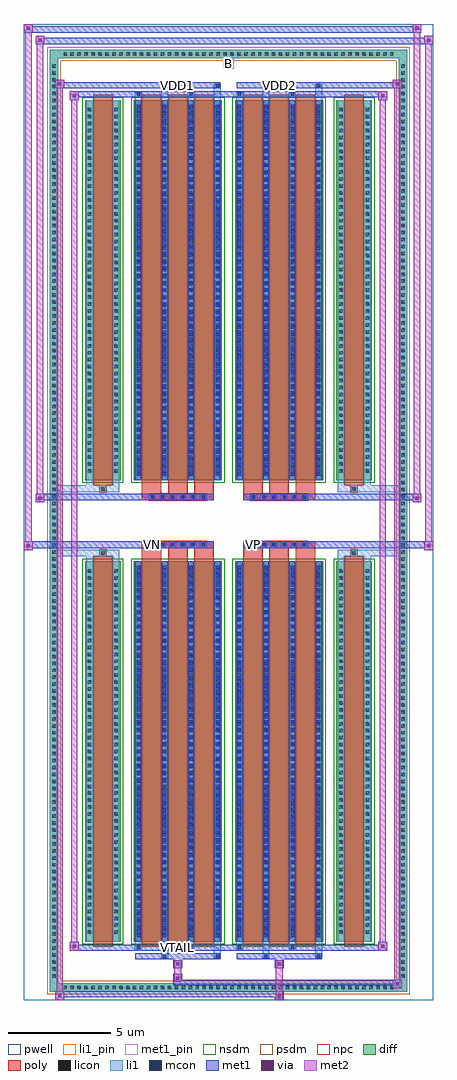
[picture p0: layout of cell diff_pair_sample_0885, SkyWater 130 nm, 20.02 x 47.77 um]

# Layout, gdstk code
import gdstk
lib = gdstk.Library(unit=1e-6, precision=5e-09)
def R(c, l, rs):  # rectangles x0, y0, x1, y1
    for r in rs: c.add(gdstk.rectangle(r[:2], r[2:], *l))
def A(c, l, x, y, w, h, nx, ny, dx, dy):  # array of equal rectangles
    R(c, l, [(x+i*dx, y+j*dy, x+i*dx+w, y+j*dy+h) for i in range(nx) for j in range(ny)])
def P(c, l, *ps):  # polygons
    for p in ps: c.add(gdstk.Polygon(p, *l))
pwell = (64, 44)
diff = (65, 20)
poly = (66, 20)
licon = (66, 44)
li1_pin = (67, 16)
li1 = (67, 20)
mcon = (67, 44)
met1_pin = (68, 16)
met1 = (68, 20)
via = (68, 44)
met2 = (69, 20)
nsdm = (93, 44)
psdm = (94, 20)
npc = (95, 20)

diff_pair_sample_0885 = lib.new_cell('diff_pair_sample_0885')
R(diff_pair_sample_0885, pwell, [(-10.01,-23.45,10.01,24.32), (-7.33,-21.64,-0.01,-0.8), (0.01,-21.64,7.33,-0.8), (-7.33,0.8,-0.01,21.64), (0.01,0.8,7.33,21.64)])
A(diff_pair_sample_0885, diff, -8.195, -23.05, 0.41, 0.41, 48, 2, 0.34, 45.69)
A(diff_pair_sample_0885, diff, -8.74, -22.475, 0.41, 0.41, 1, 132, 0, 0.34)
A(diff_pair_sample_0885, diff, 8.33, -22.475, 0.41, 0.41, 1, 132, 0, 0.34)
R(diff_pair_sample_0885, diff, [(-8.195,-23.05,8.195,-22.64), (-8.74,-22.475,-8.33,22.475), (8.33,-22.475,8.74,22.475), (-7.02,-20.595,-5.28,-1.985), (-4.64,-20.595,-0.32,-1.985), (0.32,-20.595,4.64,-1.985), (5.28,-20.595,7.02,-1.985), (-7.02,1.985,-5.28,20.595), (-4.64,1.985,-0.32,20.595), (0.32,1.985,4.64,20.595), (5.28,1.985,7.02,20.595), (-8.195,22.64,8.195,23.05)])
P(diff_pair_sample_0885, diff, [(8.74,23.05),(-8.74,23.05),(-8.74,-22.64),(-8.33,-22.64),(-8.33,22.64),(8.33,22.64),(8.33,-22.64),(-8.33,-22.64),(-8.74,-22.64),(-8.74,-23.05),(8.74,-23.05)])
A(diff_pair_sample_0885, poly, -4.25, -20.845, 0.96, 19.11, 3, 2, 1.29, 22.58)
A(diff_pair_sample_0885, poly, 0.71, -20.845, 0.96, 19.11, 3, 2, 1.29, 22.58)
A(diff_pair_sample_0885, poly, -4.25, -1.735, 0.96, 0.405, 3, 2, 1.29, 3.065)
A(diff_pair_sample_0885, poly, 0.71, -1.735, 0.96, 0.405, 3, 2, 1.29, 3.065)
A(diff_pair_sample_0885, poly, -3.895, -1.33, 0.33, 0.33, 6, 2, 0.5, 2.33)
A(diff_pair_sample_0885, poly, 1.065, -1.33, 0.33, 0.33, 6, 2, 0.5, 2.33)
R(diff_pair_sample_0885, poly, [(-6.63,-20.845,-5.67,-1.735), (5.67,-20.845,6.63,-1.735), (-6.315,-1.735,-5.985,-1.405), (-6.315,-1.735,-5.985,-1.405), (5.985,-1.735,6.315,-1.405), (5.985,-1.735,6.315,-1.405), (-4.25,-1.33,-0.71,-1), (0.71,-1.33,4.25,-1), (-4.25,1,-0.71,1.33), (0.71,1,4.25,1.33), (-6.315,1.405,-5.985,1.735), (-6.315,1.405,-5.985,1.735), (5.985,1.405,6.315,1.735), (5.985,1.405,6.315,1.735), (-6.63,1.735,-5.67,20.845), (5.67,1.735,6.63,20.845)])
A(diff_pair_sample_0885, licon, -8.075, -22.93, 0.17, 0.17, 48, 2, 0.34, 45.69)
A(diff_pair_sample_0885, licon, -8.62, -22.355, 0.17, 0.17, 1, 132, 0, 0.34)
A(diff_pair_sample_0885, licon, 8.45, -22.355, 0.17, 0.17, 1, 132, 0, 0.34)
A(diff_pair_sample_0885, licon, -6.88, -20.215, 0.17, 0.17, 1, 53, 0, 0.34)
A(diff_pair_sample_0885, licon, -5.59, -20.215, 0.17, 0.17, 1, 53, 0, 0.34)
A(diff_pair_sample_0885, licon, -4.5, -20.215, 0.17, 0.17, 4, 53, 1.29, 0.34)
A(diff_pair_sample_0885, licon, 0.46, -20.215, 0.17, 0.17, 4, 53, 1.29, 0.34)
A(diff_pair_sample_0885, licon, 5.42, -20.215, 0.17, 0.17, 1, 53, 0, 0.34)
A(diff_pair_sample_0885, licon, 6.71, -20.215, 0.17, 0.17, 1, 53, 0, 0.34)
A(diff_pair_sample_0885, licon, -3.815, -1.25, 0.17, 0.17, 6, 2, 0.5, 2.33)
A(diff_pair_sample_0885, licon, 1.145, -1.25, 0.17, 0.17, 6, 2, 0.5, 2.33)
A(diff_pair_sample_0885, licon, -6.88, 2.365, 0.17, 0.17, 1, 53, 0, 0.34)
A(diff_pair_sample_0885, licon, -5.59, 2.365, 0.17, 0.17, 1, 53, 0, 0.34)
A(diff_pair_sample_0885, licon, -4.5, 2.365, 0.17, 0.17, 4, 53, 1.29, 0.34)
A(diff_pair_sample_0885, licon, 0.46, 2.365, 0.17, 0.17, 4, 53, 1.29, 0.34)
A(diff_pair_sample_0885, licon, 5.42, 2.365, 0.17, 0.17, 1, 53, 0, 0.34)
A(diff_pair_sample_0885, licon, 6.71, 2.365, 0.17, 0.17, 1, 53, 0, 0.34)
R(diff_pair_sample_0885, licon, [(-6.235,-1.655,-6.065,-1.485), (6.065,-1.655,6.235,-1.485), (-6.235,1.485,-6.065,1.655), (6.065,1.485,6.235,1.655)])
R(diff_pair_sample_0885, li1_pin, [(-0.25,22.14,0.25,22.64)])
A(diff_pair_sample_0885, li1, -8.155, -23.01, 0.33, 0.33, 48, 2, 0.34, 45.69)
A(diff_pair_sample_0885, li1, -8.7, -22.435, 0.33, 0.33, 1, 132, 0, 0.34)
A(diff_pair_sample_0885, li1, 8.37, -22.435, 0.33, 0.33, 1, 132, 0, 0.34)
A(diff_pair_sample_0885, li1, -4.58, -20.595, 0.33, 18.61, 4, 2, 1.29, 22.58)
A(diff_pair_sample_0885, li1, 0.38, -20.595, 0.33, 18.61, 4, 2, 1.29, 22.58)
A(diff_pair_sample_0885, li1, -4.5, -20.375, 0.17, 0.17, 4, 51, 1.29, 0.36)
A(diff_pair_sample_0885, li1, -4.5, -20.375, 0.17, 18.17, 4, 2, 1.29, 22.58)
A(diff_pair_sample_0885, li1, 0.46, -20.375, 0.17, 0.17, 4, 51, 1.29, 0.36)
A(diff_pair_sample_0885, li1, 0.46, -20.375, 0.17, 18.17, 4, 2, 1.29, 22.58)
A(diff_pair_sample_0885, li1, -6.96, -20.295, 0.33, 0.33, 1, 53, 0, 0.34)
A(diff_pair_sample_0885, li1, -5.67, -20.295, 0.33, 0.33, 1, 53, 0, 0.34)
A(diff_pair_sample_0885, li1, -4.58, -20.295, 0.33, 0.33, 4, 53, 1.29, 0.34)
A(diff_pair_sample_0885, li1, 0.38, -20.295, 0.33, 0.33, 4, 53, 1.29, 0.34)
A(diff_pair_sample_0885, li1, 5.34, -20.295, 0.33, 0.33, 1, 53, 0, 0.34)
A(diff_pair_sample_0885, li1, 6.63, -20.295, 0.33, 0.33, 1, 53, 0, 0.34)
A(diff_pair_sample_0885, li1, -3.895, -1.33, 0.33, 0.33, 6, 2, 0.5, 2.33)
A(diff_pair_sample_0885, li1, 1.065, -1.33, 0.33, 0.33, 6, 2, 0.5, 2.33)
A(diff_pair_sample_0885, li1, -4.5, 2.205, 0.17, 0.17, 4, 51, 1.29, 0.36)
A(diff_pair_sample_0885, li1, 0.46, 2.205, 0.17, 0.17, 4, 51, 1.29, 0.36)
A(diff_pair_sample_0885, li1, -6.96, 2.285, 0.33, 0.33, 1, 53, 0, 0.34)
A(diff_pair_sample_0885, li1, -5.67, 2.285, 0.33, 0.33, 1, 53, 0, 0.34)
A(diff_pair_sample_0885, li1, -4.58, 2.285, 0.33, 0.33, 4, 53, 1.29, 0.34)
A(diff_pair_sample_0885, li1, 0.38, 2.285, 0.33, 0.33, 4, 53, 1.29, 0.34)
A(diff_pair_sample_0885, li1, 5.34, 2.285, 0.33, 0.33, 1, 53, 0, 0.34)
A(diff_pair_sample_0885, li1, 6.63, 2.285, 0.33, 0.33, 1, 53, 0, 0.34)
R(diff_pair_sample_0885, li1, [(-8.74,-23.05,-8.33,-22.64), (-8.74,-23.05,-8.33,-22.64), (-8.33,-23.05,8.33,-22.64), (8.33,-23.05,8.74,-22.64), (8.33,-23.05,8.74,-22.64), (-8.74,-22.64,-8.33,22.64), (8.33,-22.64,8.74,22.64), (-3.29,-21.4,-2.96,-20.595), (-3.21,-21.4,-3.04,-21.23), (-0.71,-21.4,-0.38,-20.595), (-0.63,-21.4,-0.46,-21.23), (1.67,-21.4,2,-20.595), (1.75,-21.4,1.92,-21.23), (4.25,-21.4,4.58,-20.595), (4.33,-21.4,4.5,-21.23), (-4.58,-20.97,-4.25,-20.595), (-4.5,-20.97,-4.33,-20.8), (-2,-20.97,-1.67,-20.595), (-1.92,-20.97,-1.75,-20.8), (0.38,-20.97,0.71,-20.595), (0.46,-20.97,0.63,-20.8), (2.96,-20.97,3.29,-20.595), (3.04,-20.97,3.21,-20.8), (-6.96,-20.595,-6.63,-1.985), (-5.67,-20.595,-5.34,-1.985), (5.34,-20.595,5.67,-1.985), (6.63,-20.595,6.96,-1.985), (-6.96,-1.985,-6.63,-1.405), (-5.67,-1.985,-5.34,-1.405), (5.34,-1.985,5.67,-1.405), (6.63,-1.985,6.96,-1.405), (-8.74,-1.735,-6.315,-1.405), (-6.96,-1.735,-6.315,-1.405), (-6.315,-1.735,-5.985,-1.405), (-5.985,-1.735,-5.34,-1.405), (5.34,-1.735,5.985,-1.405), (5.985,-1.735,6.315,-1.405), (5.985,-1.735,8.74,-1.405), (6.315,-1.735,6.96,-1.405), (-8.74,1.405,-6.315,1.735), (-6.96,1.405,-6.315,1.735), (-6.96,1.405,-6.63,1.985), (-6.315,1.405,-5.985,1.735), (-5.985,1.405,-5.34,1.735), (-5.67,1.405,-5.34,1.985), (5.34,1.405,5.985,1.735), (5.34,1.405,5.67,1.985), (5.985,1.405,6.315,1.735), (5.985,1.405,8.74,1.735), (6.315,1.405,6.96,1.735), (6.63,1.405,6.96,1.985), (-6.96,1.985,-6.63,20.595), (-5.67,1.985,-5.34,20.595), (5.34,1.985,5.67,20.595), (6.63,1.985,6.96,20.595), (-4.58,20.595,-4.25,20.97), (-3.29,20.595,-2.96,21.4), (-2,20.595,-1.67,20.97), (-0.71,20.595,-0.38,21.4), (0.38,20.595,0.71,20.97), (1.67,20.595,2,21.4), (2.96,20.595,3.29,20.97), (4.25,20.595,4.58,21.4), (-4.5,20.8,-4.33,20.97), (-1.92,20.8,-1.75,20.97), (0.46,20.8,0.63,20.97), (3.04,20.8,3.21,20.97), (-3.21,21.23,-3.04,21.4), (-0.63,21.23,-0.46,21.4), (1.75,21.23,1.92,21.4), (4.33,21.23,4.5,21.4), (-8.74,22.64,-8.33,23.05), (-8.74,22.64,-8.33,23.05), (-8.33,22.64,8.33,23.05), (8.33,22.64,8.74,23.05), (8.33,22.64,8.74,23.05)])
A(diff_pair_sample_0885, mcon, -4.5, -20.375, 0.17, 0.17, 4, 51, 1.29, 0.36)
A(diff_pair_sample_0885, mcon, 0.46, -20.375, 0.17, 0.17, 4, 51, 1.29, 0.36)
A(diff_pair_sample_0885, mcon, -3.815, -1.25, 0.17, 0.17, 6, 2, 0.5, 2.33)
A(diff_pair_sample_0885, mcon, 1.145, -1.25, 0.17, 0.17, 6, 2, 0.5, 2.33)
A(diff_pair_sample_0885, mcon, -4.5, 2.205, 0.17, 0.17, 4, 51, 1.29, 0.36)
A(diff_pair_sample_0885, mcon, 0.46, 2.205, 0.17, 0.17, 4, 51, 1.29, 0.36)
R(diff_pair_sample_0885, mcon, [(-3.21,-21.4,-3.04,-21.23), (-0.63,-21.4,-0.46,-21.23), (1.75,-21.4,1.92,-21.23), (4.33,-21.4,4.5,-21.23), (-4.5,-20.97,-4.33,-20.8), (-1.92,-20.97,-1.75,-20.8), (0.46,-20.97,0.63,-20.8), (3.04,-20.97,3.21,-20.8), (-4.5,20.8,-4.33,20.97), (-1.92,20.8,-1.75,20.97), (0.46,20.8,0.63,20.97), (3.04,20.8,3.21,20.97), (-3.21,21.23,-3.04,21.4), (-0.63,21.23,-0.46,21.4), (1.75,21.23,1.92,21.4), (4.33,21.23,4.5,21.4)])
R(diff_pair_sample_0885, met1_pin, [(-2.615,-21.01,-2.345,-20.74), (-3.865,-1.29,-3.595,-1.02), (1.095,-1.29,1.365,-1.02), (-2.615,21.19,-2.345,21.46), (2.345,21.19,2.615,21.46)])
A(diff_pair_sample_0885, met1, -4.56, -20.595, 0.29, 18.61, 4, 2, 1.29, 22.58)
A(diff_pair_sample_0885, met1, 0.4, -20.595, 0.29, 18.61, 4, 2, 1.29, 22.58)
A(diff_pair_sample_0885, met1, -4.56, -20.435, 0.29, 0.29, 4, 51, 1.29, 0.36)
A(diff_pair_sample_0885, met1, 0.4, -20.435, 0.29, 0.29, 4, 51, 1.29, 0.36)
A(diff_pair_sample_0885, met1, -3.875, -1.31, 0.29, 0.29, 6, 2, 0.5, 2.33)
A(diff_pair_sample_0885, met1, 1.085, -1.31, 0.29, 0.29, 6, 2, 0.5, 2.33)
A(diff_pair_sample_0885, met1, -4.56, 2.145, 0.29, 0.29, 4, 51, 1.29, 0.36)
A(diff_pair_sample_0885, met1, 0.4, 2.145, 0.29, 0.29, 4, 51, 1.29, 0.36)
R(diff_pair_sample_0885, met1, [(-8.47,-23.45,-8.04,-23.02), (2.265,-23.45,2.695,-23.02), (-8.47,-23.31,2.695,-23.02), (8.04,-22.88,8.47,-22.45), (-2.695,-22.74,8.47,-22.45), (-2.695,-22.6,-2.265,-22.17), (-2.695,-21.89,-2.265,-21.46), (2.265,-21.89,2.695,-21.46), (-4.56,-21.46,-0.4,-21.17), (-3.27,-21.46,-2.98,-21.17), (-0.69,-21.46,-0.4,-21.17), (0.4,-21.46,4.56,-21.17), (1.69,-21.46,1.98,-21.17), (4.27,-21.46,4.56,-21.17), (-7.76,-21.03,-7.33,-20.6), (-7.76,-21.03,-4.56,-20.74), (-4.56,-21.03,-4.27,-20.74), (-4.56,-21.03,-0.4,-20.74), (-1.98,-21.03,-1.69,-20.74), (-0.4,-21.03,0.4,-20.74), (0.4,-21.03,0.69,-20.74), (0.4,-21.03,4.56,-20.74), (2.98,-21.03,3.27,-20.74), (4.56,-21.03,7.76,-20.74), (7.33,-21.03,7.76,-20.6), (-10.01,-1.43,-9.58,-1), (9.58,-1.43,10.01,-1), (-10.01,-1.33,-0.71,-1), (-4.25,-1.33,-0.71,-1), (0.71,-1.33,4.25,-1), (0.71,-1.33,10.01,-1), (-9.44,0.9,-9.01,1.33), (9.01,0.9,9.44,1.33), (-9.44,1,-4.25,1.33), (-4.25,1,-0.71,1.33), (0.71,1,4.25,1.33), (4.25,1,9.44,1.33), (-7.76,20.6,-7.33,21.03), (7.33,20.6,7.76,21.03), (-7.76,20.74,-4.56,21.03), (-4.56,20.74,-4.27,21.03), (-4.56,20.74,-0.4,21.03), (-1.98,20.74,-1.69,21.03), (-0.4,20.74,0.4,21.03), (0.4,20.74,0.69,21.03), (0.4,20.74,4.56,21.03), (2.98,20.74,3.27,21.03), (4.56,20.74,7.76,21.03), (-8.47,21.17,-8.04,21.6), (-8.47,21.17,-4.56,21.46), (-4.56,21.17,-0.4,21.46), (-3.27,21.17,-2.98,21.46), (-0.69,21.17,-0.4,21.46), (0.4,21.17,4.56,21.46), (1.69,21.17,1.98,21.46), (4.27,21.17,4.56,21.46), (4.56,21.17,8.47,21.46), (8.04,21.17,8.47,21.6), (-9.44,23.32,-9.01,23.75), (-9.44,23.32,-7.33,23.65), (-7.33,23.32,7.33,23.65), (7.33,23.32,10.01,23.65), (9.58,23.32,10.01,23.75), (-10.01,23.89,-9.58,24.32), (-10.01,23.89,-7.33,24.22), (-7.33,23.89,7.33,24.22), (7.33,23.89,9.44,24.22), (9.01,23.89,9.44,24.32)])
R(diff_pair_sample_0885, via, [(-8.33,-23.31,-8.18,-23.16), (2.405,-23.31,2.555,-23.16), (8.18,-22.74,8.33,-22.59), (-2.555,-22.46,-2.405,-22.31), (-2.555,-21.75,-2.405,-21.6), (2.405,-21.75,2.555,-21.6), (-7.62,-20.89,-7.47,-20.74), (7.47,-20.89,7.62,-20.74), (-9.87,-1.29,-9.72,-1.14), (9.72,-1.29,9.87,-1.14), (-9.3,1.04,-9.15,1.19), (9.15,1.04,9.3,1.19), (-7.62,20.74,-7.47,20.89), (7.47,20.74,7.62,20.89), (-8.33,21.31,-8.18,21.46), (8.18,21.31,8.33,21.46), (-9.3,23.46,-9.15,23.61), (9.72,23.46,9.87,23.61), (-9.87,24.03,-9.72,24.18), (9.15,24.03,9.3,24.18)])
R(diff_pair_sample_0885, met2, [(-8.47,-23.45,-8.04,-23.02), (-8.4,-23.45,-8.11,21.6), (-8.11,-23.45,-8.04,-23.02), (-8.42,-23.4,-8.09,-23.07), (2.315,-23.4,2.645,-23.07), (2.315,-23.07,2.645,-21.84), (8.04,-22.88,8.47,-22.45), (8.11,-22.88,8.4,21.6), (8.4,-22.88,8.47,-22.45), (8.09,-22.83,8.42,-22.5), (-2.645,-22.55,-2.315,-22.22), (-2.645,-22.22,-2.315,-21.84), (-2.645,-21.84,-2.315,-21.51), (2.315,-21.84,2.645,-21.51), (-7.76,-21.03,-7.33,-20.6), (-7.69,-21.03,-7.4,21.03), (-7.4,-21.03,-7.33,-20.6), (7.33,-21.03,7.76,-20.6), (7.4,-21.03,7.69,21.03), (7.69,-21.03,7.76,-20.6), (-7.71,-20.98,-7.38,-20.65), (7.38,-20.98,7.71,-20.65), (-10.01,-1.43,-9.58,-1), (-9.96,-1.43,-9.63,24.32), (-9.63,-1.43,-9.58,-1), (9.58,-1.43,10.01,-1), (9.63,-1.43,9.96,23.75), (9.96,-1.43,10.01,-1), (-9.96,-1.38,-9.63,-1.05), (9.63,-1.38,9.96,-1.05), (-9.44,0.9,-9.01,1.33), (-9.39,0.9,-9.06,23.75), (-9.06,0.9,-9.01,1.33), (9.01,0.9,9.44,1.33), (9.06,0.9,9.39,24.32), (9.39,0.9,9.44,1.33), (-9.39,0.95,-9.06,1.28), (9.06,0.95,9.39,1.28), (-7.76,20.6,-7.33,21.03), (-7.4,20.6,-7.33,21.03), (7.33,20.6,7.76,21.03), (7.69,20.6,7.76,21.03), (-7.71,20.65,-7.38,20.98), (7.38,20.65,7.71,20.98), (-8.47,21.17,-8.04,21.6), (-8.11,21.17,-8.04,21.6), (8.04,21.17,8.47,21.6), (8.4,21.17,8.47,21.6), (-8.42,21.22,-8.09,21.55), (8.09,21.22,8.42,21.55), (-9.44,23.32,-9.01,23.75), (-9.06,23.32,-9.01,23.75), (9.58,23.32,10.01,23.75), (9.96,23.32,10.01,23.75), (-9.39,23.37,-9.06,23.7), (9.63,23.37,9.96,23.7), (-10.01,23.89,-9.58,24.32), (-9.63,23.89,-9.58,24.32), (9.01,23.89,9.44,24.32), (9.39,23.89,9.44,24.32), (-9.96,23.94,-9.63,24.27), (9.06,23.94,9.39,24.27)])
R(diff_pair_sample_0885, nsdm, [(-7.15,-20.725,-5.15,-1.855), (-4.77,-20.725,-0.19,-1.855), (0.19,-20.725,4.77,-1.855), (5.15,-20.725,7.15,-1.855), (-7.15,1.855,-5.15,20.725), (-4.77,1.855,-0.19,20.725), (0.19,1.855,4.77,20.725), (5.15,1.855,7.15,20.725)])
P(diff_pair_sample_0885, psdm, [(8.87,23.18),(-8.87,23.18),(-8.87,-22.51),(-8.2,-22.51),(-8.2,22.51),(8.2,22.51),(8.2,-22.51),(-8.2,-22.51),(-8.87,-22.51),(-8.87,-23.18),(8.87,-23.18)])
A(diff_pair_sample_0885, npc, -3.915, -1.35, 0.37, 0.37, 6, 2, 0.5, 2.33)
A(diff_pair_sample_0885, npc, 1.045, -1.35, 0.37, 0.37, 6, 2, 0.5, 2.33)
R(diff_pair_sample_0885, npc, [(-6.335,-1.755,-5.965,-1.385), (5.965,-1.755,6.335,-1.385), (-3.915,-1.35,-3.045,-0.98), (-3.915,-1.35,-3.045,-0.98), (-3.415,-1.35,-2.545,-0.98), (-3.415,-1.35,-2.545,-0.98), (-2.915,-1.35,-2.045,-0.98), (-2.915,-1.35,-2.045,-0.98), (-2.415,-1.35,-1.545,-0.98), (-2.415,-1.35,-1.545,-0.98), (-1.915,-1.35,-1.045,-0.98), (-1.915,-1.35,-1.045,-0.98), (1.045,-1.35,1.915,-0.98), (1.045,-1.35,1.915,-0.98), (1.545,-1.35,2.415,-0.98), (1.545,-1.35,2.415,-0.98), (2.045,-1.35,2.915,-0.98), (2.045,-1.35,2.915,-0.98), (2.545,-1.35,3.415,-0.98), (2.545,-1.35,3.415,-0.98), (3.045,-1.35,3.915,-0.98), (3.045,-1.35,3.915,-0.98), (-3.915,0.98,-3.045,1.35), (-3.915,0.98,-3.045,1.35), (-3.415,0.98,-2.545,1.35), (-3.415,0.98,-2.545,1.35), (-2.915,0.98,-2.045,1.35), (-2.915,0.98,-2.045,1.35), (-2.415,0.98,-1.545,1.35), (-2.415,0.98,-1.545,1.35), (-1.915,0.98,-1.045,1.35), (-1.915,0.98,-1.045,1.35), (1.045,0.98,1.915,1.35), (1.045,0.98,1.915,1.35), (1.545,0.98,2.415,1.35), (1.545,0.98,2.415,1.35), (2.045,0.98,2.915,1.35), (2.045,0.98,2.915,1.35), (2.545,0.98,3.415,1.35), (2.545,0.98,3.415,1.35), (3.045,0.98,3.915,1.35), (3.045,0.98,3.915,1.35), (-6.335,1.385,-5.965,1.755), (5.965,1.385,6.335,1.755)])
diff_pair_sample_0885.add(gdstk.Label('VTAIL', (-2.48,-20.875), layer=68, texttype=5))
diff_pair_sample_0885.add(gdstk.Label('VN', (-3.73,-1.155), layer=68, texttype=5))
diff_pair_sample_0885.add(gdstk.Label('VP', (1.23,-1.155), layer=68, texttype=5))
diff_pair_sample_0885.add(gdstk.Label('B', (0,22.39), layer=67, texttype=5))
diff_pair_sample_0885.add(gdstk.Label('VDD2', (2.48,21.325), layer=68, texttype=5))
diff_pair_sample_0885.add(gdstk.Label('VDD1', (-2.48,21.325), layer=68, texttype=5))

lib.write_gds('diff_pair_sample_0885.gds')
